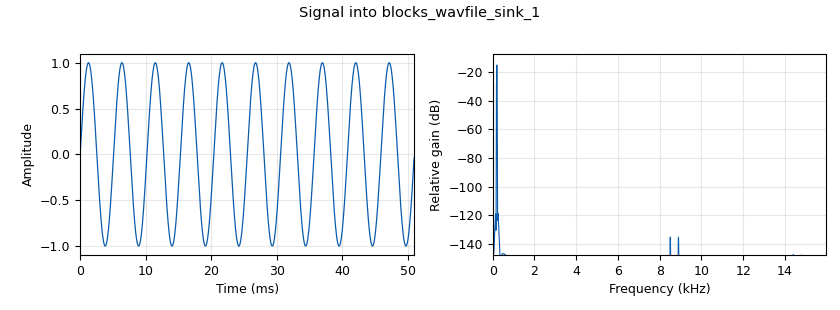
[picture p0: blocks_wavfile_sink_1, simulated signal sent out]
options:
  parameters:
    generate_options: qt_gui
    id: ec415_lab1_kremerme_cgeron
    output_language: python
    title: Not titled yet
  states: {}

blocks:
- name: samp_rate
  id: variable
  parameters:
    value: '32000'
  states: {}
- name: analog_sig_source_x_0
  id: analog_sig_source_x
  parameters:
    amp: '1'
    freq: '196'
    offset: '0'
    phase: '0'
    samp_rate: samp_rate
    type: float
    waveform: analog.GR_SIN_WAVE
  states: {}
- name: blocks_wavfile_sink_1
  id: blocks_wavfile_sink
  parameters:
    bits_per_sample: '8'
    file: /ad/eng/users/k/r/kremerme/Desktop/ec415/output_Feb_11.wav
    samp_rate: samp_rate
  states: {}

connections:
- [analog_sig_source_x_0, '0', blocks_wavfile_sink_1, '0']

metadata:
  file_format: 1
